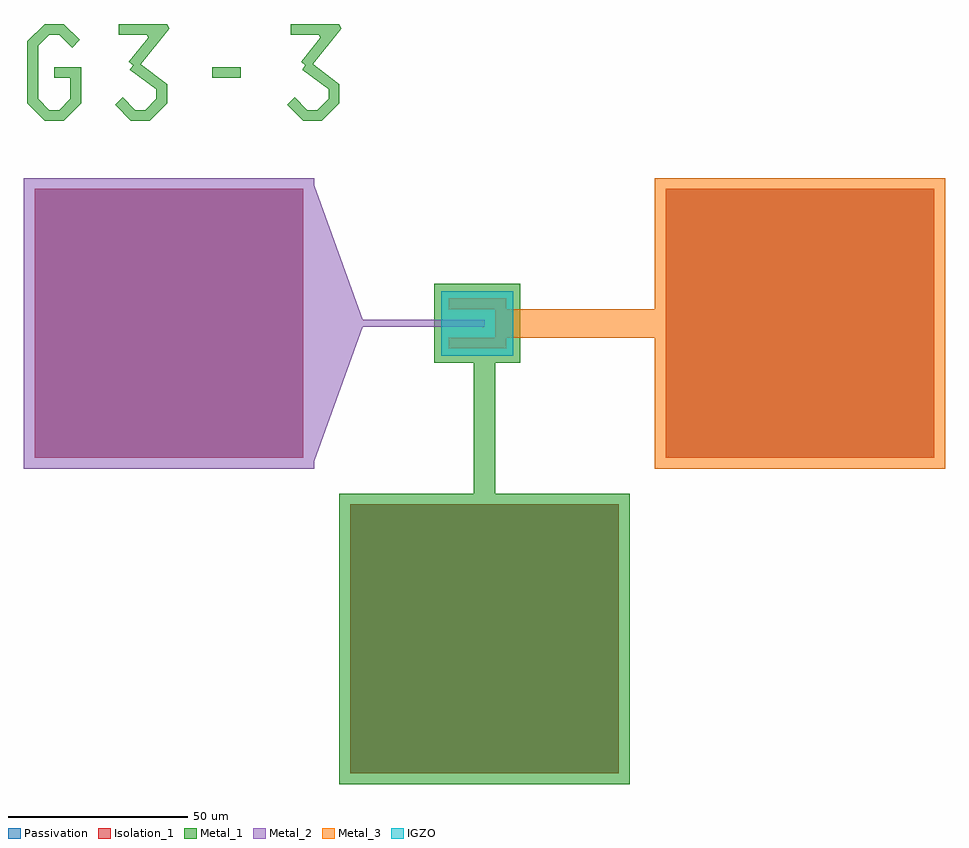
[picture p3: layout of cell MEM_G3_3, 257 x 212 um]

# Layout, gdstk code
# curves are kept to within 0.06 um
import gdstk
lib = gdstk.Library(unit=1e-6, precision=1e-09)
def R(c, l, rs):  # rectangles x0, y0, x1, y1
    for r in rs: c.add(gdstk.rectangle(r[:2], r[2:], *l))
def P(c, l, *ps):  # polygons
    for p in ps: c.add(gdstk.Polygon(p, *l))
Metal_1 = (1, 0)
Isolation_1 = (2, 0)
Metal_2 = (3, 0)
IGZO = (4, 0)
Metal_3 = (5, 0)
Passivation = (6, 0)

mem_g3_3 = lib.new_cell('MEM_G3_3')
R(mem_g3_3, Metal_1, [(87.5,-0.5,168.5,80.5), (52,196.5,60,199.5)])
P(mem_g3_3, Metal_1, [(5.378,184.5),(0.5,189.378),(0.5,206.622),(5.378,211.5),(10.622,211.5),(15.061,207.061),(12.939,204.939),(9.378,208.5),(6.622,208.5),(3.5,205.378),(3.5,190.622),(6.622,187.5),(9.378,187.5),(12.5,190.622),(12.5,196.5),(8,196.5),(8,199.5),(15.5,199.5),(15.5,189.378),(10.622,184.5)],
  [(29.378,184.5),(24.939,188.939),(27.061,191.061),(30.622,187.5),(33.378,187.5),(36.5,190.622),(36.5,193.25),(29.1,198.8),(29.999,200),(28.83,200.937),(34.204,207.656),(33.798,208.5),(26,208.5),(26,211.5),(39.5,211.5),(40.108,210.234),(32.158,200.297),(39.5,194.75),(39.5,189.378),(34.622,184.5)],
  [(77.378,184.5),(72.939,188.939),(75.061,191.061),(78.622,187.5),(81.378,187.5),(84.5,190.622),(84.5,193.25),(77.1,198.8),(77.999,200),(76.83,200.937),(82.204,207.656),(81.798,208.5),(74,208.5),(74,211.5),(87.5,211.5),(88.108,210.234),(80.158,200.297),(87.5,194.75),(87.5,189.378),(82.622,184.5)],
  [(88,0),(88,80),(125,80),(125,117),(114,117),(114,139),(138,139),(138,117),(131,117),(131,80),(168,80),(168,0)])
R(mem_g3_3, Isolation_1, [(90.5,2.5,165.5,77.5), (2.5,90.5,77.5,165.5), (178.5,90.5,253.5,165.5)])
R(mem_g3_3, Metal_2, [(-0.5,87.5,80.5,168.5), (0,88,80,168)])
P(mem_g3_3, Metal_2, [(80,88),(80,168),(94,129),(128,129),(128,127),(94,127)])
R(mem_g3_3, IGZO, [(116,119,136,137)])
R(mem_g3_3, Metal_3, [(175.5,87.5,256.5,168.5)])
P(mem_g3_3, Metal_3, [(176,88),(176,124),(134,124),(134,121),(118,121),(118,124),(131,124),(131,132),(118,132),(118,135),(134,135),(134,132),(176,132),(176,168),(256,168),(256,88)])
R(mem_g3_3, Passivation, [(90.5,2.5,165.5,77.5), (2.5,90.5,77.5,165.5), (178.5,90.5,253.5,165.5)])

lib.write_gds('MEM_G3_3.gds')
